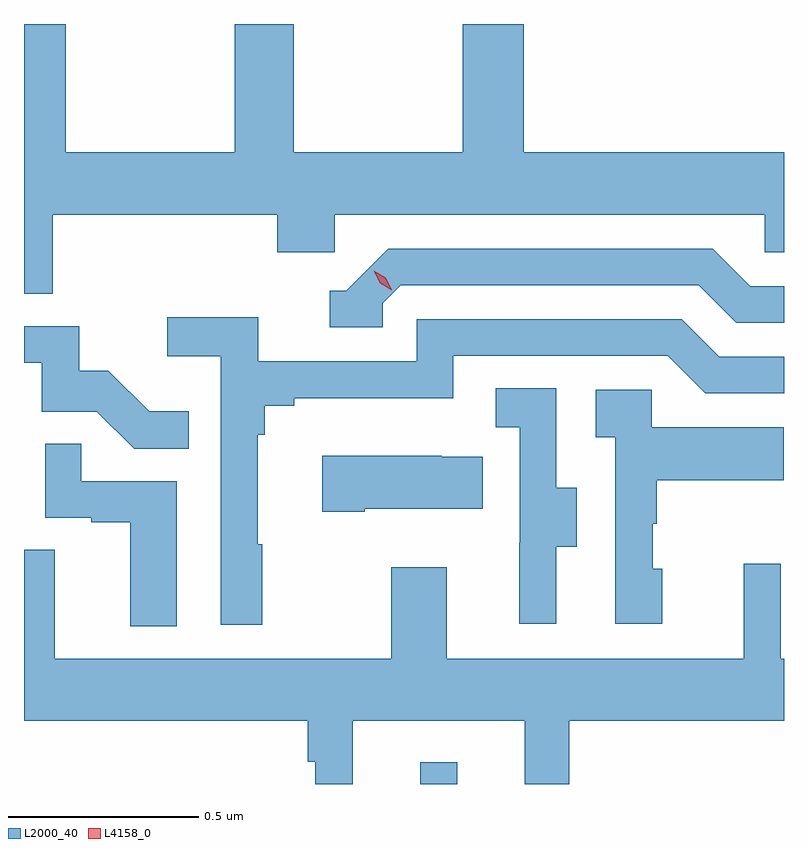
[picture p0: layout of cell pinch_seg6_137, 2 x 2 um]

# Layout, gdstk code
import gdstk
lib = gdstk.Library(unit=1e-6, precision=1e-09)
def R(c, l, rs):  # rectangles x0, y0, x1, y1
    for r in rs: c.add(gdstk.rectangle(r[:2], r[2:], *l))
def P(c, l, *ps):  # polygons
    for p in ps: c.add(gdstk.Polygon(p, *l))
L2000_40 = (2000, 40)
L4158_0 = (4158, 0)

pinch_seg6_137 = lib.new_cell('pinch_seg6_137')
R(pinch_seg6_137, L2000_40, [(953.559,931.186,953.656,931.243)])
P(pinch_seg6_137, L2000_40, [(952.592,932.684),(953.183,932.684),(953.183,932.586),(953.334,932.586),(953.334,932.684),(954.465,932.684),(954.465,932.586),(954.516,932.586),(954.516,932.848),(953.831,932.848),(953.831,933.186),(953.671,933.186),(953.671,932.848),(953.226,932.848),(953.226,933.186),(953.071,933.186),(953.071,932.848),(952.626,932.848),(952.626,933.186),(952.516,933.186),(952.516,932.476),(952.592,932.476)],
  [(953.46,932.451),(953.508,932.499),(954.291,932.499),(954.39,932.4),(954.516,932.4),(954.516,932.496),(954.427,932.496),(954.328,932.595),(953.475,932.595),(953.364,932.484),(953.321,932.484),(953.321,932.388),(953.46,932.388)],
  [(953.143,931.817),(953.131,931.817),(953.131,932.105),(953.15,932.105),(953.15,932.182),(953.227,932.182),(953.227,932.201),(953.646,932.201),(953.646,932.313),(954.21,932.313),(954.309,932.214),(954.516,932.214),(954.516,932.31),(954.346,932.31),(954.247,932.409),(953.55,932.409),(953.55,932.298),(953.132,932.298),(953.132,932.414),(952.893,932.414),(952.893,932.312),(953.034,932.312),(953.034,931.605),(953.143,931.605)],
  [(952.949,932.167),(952.845,932.167),(952.738,932.274),(952.662,932.274),(952.662,932.391),(952.516,932.391),(952.516,932.295),(952.563,932.295),(952.563,932.166),(952.708,932.166),(952.806,932.068),(952.949,932.068)],
  [(953.917,931.81),(953.971,931.81),(953.971,931.965),(953.916,931.965),(953.916,932.228),(953.757,932.228),(953.757,932.125),(953.82,932.125),(953.82,931.821),(953.819,931.821),(953.819,931.608),(953.917,931.608)],
  [(954.196,931.752),(954.171,931.752),(954.171,931.871),(954.181,931.871),(954.181,931.985),(954.515,931.985),(954.515,932.125),(954.168,932.125),(954.168,932.223),(954.021,932.223),(954.021,932.099),(954.072,932.099),(954.072,931.608),(954.196,931.608)],
  [(952.918,931.983),(952.667,931.983),(952.667,932.081),(952.572,932.081),(952.572,931.887),(952.693,931.887),(952.693,931.875),(952.796,931.875),(952.796,931.601),(952.918,931.601)],
  [(953.413,931.91),(953.723,931.91),(953.723,932.047),(953.615,932.047),(953.615,932.05),(953.301,932.05),(953.301,931.903),(953.413,931.903)],
  [(953.381,931.352),(953.834,931.352),(953.834,931.186),(953.951,931.186),(953.951,931.352),(954.516,931.352),(954.516,931.516),(954.507,931.516),(954.507,931.765),(954.41,931.765),(954.41,931.516),(953.629,931.516),(953.629,931.756),(953.482,931.756),(953.482,931.516),(952.597,931.516),(952.597,931.802),(952.516,931.802),(952.516,931.352),(953.263,931.352),(953.263,931.245),(953.283,931.245),(953.283,931.186),(953.381,931.186)])
P(pinch_seg6_137, L4158_0, [(953.484,932.485),(953.453,932.504),(953.436,932.537),(953.436,932.537),(953.437,932.537),(953.468,932.518),(953.484,932.485),(953.484,932.485)])

lib.write_gds('pinch_seg6_137.gds')
